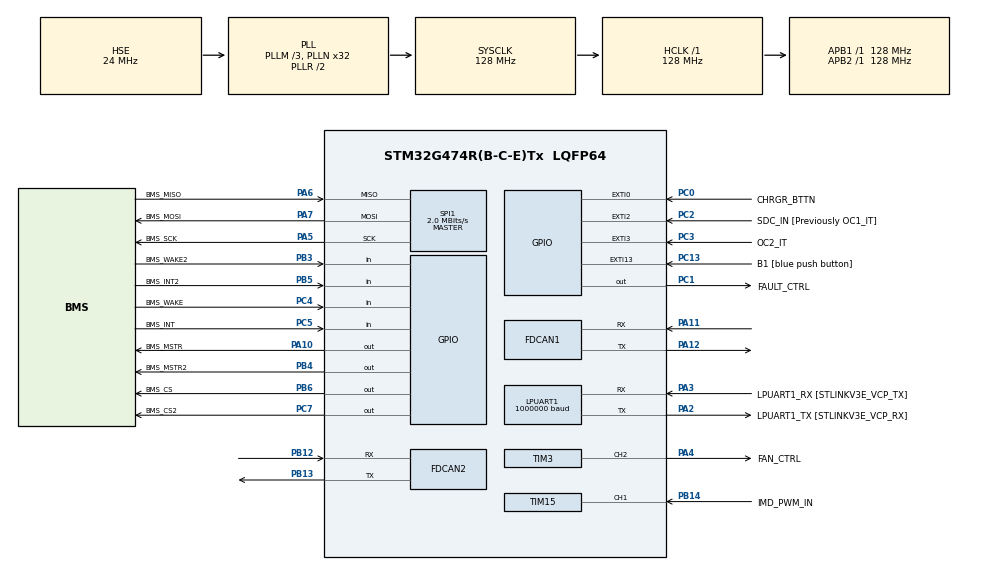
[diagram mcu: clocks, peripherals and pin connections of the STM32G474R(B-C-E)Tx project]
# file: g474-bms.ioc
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Dma.LPUART1_TX.0.Direction=DMA_MEMORY_TO_PERIPH
Dma.LPUART1_TX.0.EventEnable=DISABLE
Dma.LPUART1_TX.0.Instance=DMA1_Channel1
Dma.LPUART1_TX.0.MemDataAlignment=DMA_MDATAALIGN_BYTE
Dma.LPUART1_TX.0.MemInc=DMA_MINC_ENABLE
Dma.LPUART1_TX.0.Mode=DMA_NORMAL
Dma.LPUART1_TX.0.PeriphDataAlignment=DMA_PDATAALIGN_BYTE
Dma.LPUART1_TX.0.PeriphInc=DMA_PINC_DISABLE
Dma.LPUART1_TX.0.Polarity=HAL_DMAMUX_REQ_GEN_RISING
Dma.LPUART1_TX.0.Priority=DMA_PRIORITY_LOW
Dma.LPUART1_TX.0.RequestNumber=1
Dma.LPUART1_TX.0.SignalID=NONE
Dma.LPUART1_TX.0.SyncEnable=DISABLE
Dma.LPUART1_TX.0.SyncPolarity=HAL_DMAMUX_SYNC_NO_EVENT
Dma.LPUART1_TX.0.SyncRequestNumber=1
Dma.LPUART1_TX.0.SyncSignalID=NONE
Dma.Request0=LPUART1_TX
FDCAN1.AutoRetransmission=ENABLE
FDCAN1.CalculateBaudRateNominal=250000
FDCAN1.CalculateTimeBitNominal=4000
FDCAN1.CalculateTimeQuantumNominal=250.0
FDCAN1.ClockDivider=FDCAN_CLOCK_DIV2
FDCAN1.DataSyncJumpWidth=1
FDCAN1.NominalPrescaler=16
FDCAN1.NominalSyncJumpWidth=1
FDCAN1.NominalTimeSeg1=13
FDCAN1.NominalTimeSeg2=2
FDCAN2.CalculateBaudRateNominal=2666666
FDCAN2.CalculateTimeBitNominal=375
FDCAN2.CalculateTimeQuantumNominal=125.0
LPUART1.BaudRate=1000000
Mcu.Family=STM32G4
Mcu.Name=STM32G474R(B-C-E)Tx
Mcu.Package=LQFP64
NVIC.DMA1_Channel1_IRQn=true\:0\:0\:false\:false\:true\:false\:true\:true
NVIC.EXTI0_IRQn=true\:0\:0\:false\:false\:true\:true\:true\:true
NVIC.EXTI15_10_IRQn=true\:0\:0\:false\:false\:true\:true\:true\:true
NVIC.FDCAN1_IT0_IRQn=true\:0\:0\:false\:false\:true\:true\:true\:true
NVIC.LPUART1_IRQn=true\:0\:0\:false\:false\:true\:true\:true\:true
NVIC.PriorityGroup=NVIC_PRIORITYGROUP_4
NVIC.TIM1_UP_TIM16_IRQn=true\:0\:0\:false\:false\:true\:true\:true\:true
PA10.GPIO_Label=BMS_MSTR
PA10.Signal=GPIO_Output
PA11.Mode=FDCAN_Activate
PA11.Signal=FDCAN1_RX
PA12.Mode=FDCAN_Activate
PA12.Signal=FDCAN1_TX
PA13.GPIO_Label=T_SWDIO
PA13.Mode=Serial_Wire
PA13.Signal=SYS_JTMS-SWDIO
PA14.GPIO_Label=T_SWCLK
PA14.Mode=Serial_Wire
PA14.Signal=SYS_JTCK-SWCLK
PA2.GPIO_Label=LPUART1_TX [STLINKV3E_VCP_RX]
PA2.Mode=Asynchronous
PA2.Signal=LPUART1_TX
PA3.GPIO_Label=LPUART1_RX [STLINKV3E_VCP_TX]
PA3.Mode=Asynchronous
PA3.Signal=LPUART1_RX
PA4.GPIO_Label=FAN_CTRL
PA4.Signal=S_TIM3_CH2
PA5.GPIO_Label=BMS_SCK
PA5.Mode=Full_Duplex_Master
PA5.Signal=SPI1_SCK
PA6.GPIO_Label=BMS_MISO
PA6.Mode=Full_Duplex_Master
PA6.Signal=SPI1_MISO
PA7.GPIO_Label=BMS_MOSI
PA7.Mode=Full_Duplex_Master
PA7.Signal=SPI1_MOSI
PB12.Mode=FDCAN_Activate
PB12.Signal=FDCAN2_RX
PB13.Mode=FDCAN_Activate
PB13.Signal=FDCAN2_TX
PB14.GPIO_Label=IMD_PWM_IN
PB14.Signal=S_TIM15_CH1
PB3.GPIO_Label=BMS_WAKE2
PB3.Signal=GPIO_Input
PB4.GPIO_Label=BMS_MSTR2
PB4.Signal=GPIO_Output
PB5.GPIO_Label=BMS_INT2
PB5.Signal=GPIO_Input
PB6.GPIO_Label=BMS_CS
PB6.Signal=GPIO_Output
PC0.GPIO_Label=CHRGR_BTTN
PC0.GPIO_ModeDefaultEXTI=GPIO_MODE_IT_FALLING
PC0.GPIO_PuPd=GPIO_NOPULL
PC0.Signal=GPXTI0
PC1.GPIO_Label=FAULT_CTRL
PC1.GPIO_ModeDefaultOutputPP=GPIO_MODE_OUTPUT_OD
PC1.GPIO_PuPd=GPIO_NOPULL
PC1.PinState=GPIO_PIN_SET
PC1.Signal=GPIO_Output
PC13.GPIO_Label=B1 [blue push button]
PC13.Signal=GPXTI13
PC14-OSC32_IN.GPIO_Label=RCC_OSC32_IN
PC14-OSC32_IN.Mode=LSE-External-Oscillator
PC14-OSC32_IN.Signal=RCC_OSC32_IN
PC15-OSC32_OUT.GPIO_Label=RCC_OSC32_OUT
PC15-OSC32_OUT.Mode=LSE-External-Oscillator
PC15-OSC32_OUT.Signal=RCC_OSC32_OUT
PC2.GPIO_Label=SDC_IN [Previously OC1_IT]
PC2.Signal=GPXTI2
PC3.GPIO_Label=OC2_IT
PC3.Signal=GPXTI3
PC4.GPIO_Label=BMS_WAKE
PC4.Signal=GPIO_Input
PC5.GPIO_Label=BMS_INT
PC5.Signal=GPIO_Input
PC7.GPIO_Label=BMS_CS2
PC7.Signal=GPIO_Output
PF0-OSC_IN.GPIO_Label=RCC_OSC_IN
PF0-OSC_IN.Mode=HSE-External-Oscillator
PF0-OSC_IN.Signal=RCC_OSC_IN
PF1-OSC_OUT.GPIO_Label=RCC_OSC_OUT
PF1-OSC_OUT.Mode=HSE-External-Oscillator
PF1-OSC_OUT.Signal=RCC_OSC_OUT
ProjectManager.HeapSize=0x200
ProjectManager.StackSize=0x400
ProjectManager.TargetToolchain=STM32CubeIDE
RCC.ADC12Freq_Value=128000000
RCC.ADC345Freq_Value=128000000
RCC.AHBFreq_Value=128000000
RCC.APB1Freq_Value=128000000
RCC.APB1TimFreq_Value=128000000
RCC.APB2Freq_Value=128000000
RCC.APB2TimFreq_Value=128000000
RCC.CortexFreq_Value=128000000
RCC.EXTERNAL_CLOCK_VALUE=12288000
RCC.HCLKFreq_Value=128000000
RCC.HSE_VALUE=24000000
RCC.HSI48_VALUE=48000000
RCC.HSI_VALUE=16000000
RCC.PLLM=RCC_PLLM_DIV3
RCC.PLLN=32
RCC.PLLSourceVirtual=RCC_PLLSOURCE_HSE
RCC.RTCClockSelection=RCC_RTCCLKSOURCE_LSE
RCC.SYSCLKFreq_VALUE=128000000
RCC.SYSCLKSource=RCC_SYSCLKSOURCE_PLLCLK
RCC.USBFreq_Value=128000000
RCC.VCOOutputFreq_Value=256000000
SH.S_TIM15_CH1.0=TIM15_CH1,PWM_Input_1
SH.S_TIM3_CH2.0=TIM3_CH2,PWM Generation2 CH2
SPI1.BaudRatePrescaler=SPI_BAUDRATEPRESCALER_64
SPI1.CalculateBaudRate=2.0 MBits/s
SPI1.DataSize=SPI_DATASIZE_8BIT
SPI1.Direction=SPI_DIRECTION_2LINES
SPI1.Mode=SPI_MODE_MASTER
SPI1.VirtualType=VM_MASTER
TIM16.PeriodNoDither=10000 - 1
TIM16.Prescaler=12800 - 1
TIM2.PeriodNoDither=4294967295
TIM2.Prescaler=128-1
TIM3.Channel-PWM\ Generation2\ CH2=TIM_CHANNEL_2
VP_SYS_VS_DBSignals.Mode=DisableDeadBatterySignals
VP_TIM15_VS_ClockSourceINT.Mode=Internal
VP_TIM16_VS_ClockSourceINT.Mode=Enable_Timer
VP_TIM2_VS_ClockSourceINT.Mode=Internal
VP_TIM3_VS_ClockSourceINT.Mode=Internal
board=NUCLEO-G474RE

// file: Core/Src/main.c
/* USER CODE BEGIN Header */
/**
  ******************************************************************************
  * @file           : main.c
  * @brief          : Main program body
  ******************************************************************************
  * @attention
  *
  * Copyright (c) 2024 STMicroelectronics.
  * All rights reserved.
  *
  * This software is licensed under terms that can be found in the LICENSE file
  * in the root directory of this software component.
  * If no LICENSE file comes with this software, it is provided AS-IS.
  *
  ******************************************************************************
  */
/* USER CODE END Header */
#include "main.h"
#include "dma.h"
#include "fdcan.h"
#include "usart.h"
#include "spi.h"
#include "tim.h"
#include "gpio.h"

/* USER CODE BEGIN Includes */
#include "string.h"
#include "stdio.h"

#include "bms_cmdlist.h"
#include "bms_datatypes.h"
#include "bms_utility.h"
#include "bms_mcuWrapper.h"
#include "bms_libWrapper.h"

#include "uartDMA.h"
#include "bms_can.h"

/* USER CODE END Includes */

/* USER CODE BEGIN PTD */

const float deltaThreshold = 0.010; // In volts

/* USER CODE END PTD */

void SystemClock_Config(void);
/* USER CODE BEGIN PFP */

uint32_t getRuntimeMs(void);
uint32_t getRuntimeMsDiff(uint32_t startTime);

void BMS_WriteFaultSignal(bool state);
void BMS_FaultHandler(BMS_StatusTypeDef status);

/* USER CODE END PFP */

/* USER CODE BEGIN 0 */

typedef struct {
    volatile uint32_t runtime_sec;
    volatile uint32_t counter_commsError;
    volatile uint32_t counter_commsErrorCumulative;

    volatile uint32_t time_voltageFaultStart;
    volatile uint32_t time_tempFaultStart;
} ProgramStats;

ProgramStats programStats = {0};

volatile bool initRequired = true;

const uint32_t MAIN_LOOP_DELAY = 500;

static const bool DEBUG_SERIAL_LOOP_TIME = false;

/* USER CODE END 0 */

int main(void)
{

  /* MCU Configuration--------------------------------------------------------*/

  /* Reset of all peripherals, Initializes the Flash interface and the Systick. */
  HAL_Init();

  /* Configure the system clock */
  SystemClock_Config();

  /* Initialize all configured peripherals */
  MX_GPIO_Init();
  MX_DMA_Init();
  MX_LPUART1_UART_Init();
  MX_SPI1_Init();
  MX_TIM2_Init();
  MX_TIM16_Init();
  MX_FDCAN1_Init();
  MX_FDCAN2_Init();
  MX_TIM15_Init();
  MX_TIM3_Init();

  /* Infinite loop */
  /* USER CODE BEGIN WHILE */

    // Set CS2 Pin to HIGH to disable second SPI on 6822 + MSTR should be high by default
    HAL_GPIO_WritePin(BMS_CS2_GPIO_Port, BMS_CS2_Pin, GPIO_PIN_SET);
    HAL_GPIO_WritePin(BMS_MSTR_GPIO_Port, BMS_MSTR_Pin, GPIO_PIN_SET);
    HAL_GPIO_WritePin(BMS_MSTR2_GPIO_Port, BMS_MSTR2_Pin, GPIO_PIN_SET);

    // Fault By Default
    BMS_WriteFaultSignal(true);

    // Configure FDCAN
    BMS_CAN_Config();

    // Start Timer16
    HAL_TIM_Base_Start_IT(&htim16);

//    // Initialise BMS configs (No commands sent)
//    bms_init();

    uint32_t timeDiff = 0;
    uint32_t timeStart;

    printfDma("\n\n +++++             PROGRAM START             +++++ \n\n");
    bms_softReset();
    HAL_Delay(500);         // Initialisation delay

    bms_wakeupChain();
    bms_softReset();

    BMS_StatusTypeDef bmsStatus;

    BMS_EnableBalancing(false);
    BMS_EnableCharging(false);

    while (1)
    {
        timeStart = getRuntimeMs();

        // Init BMS
        if (initRequired == true)
        {
            bmsStatus = bms_init();
            if (bms_init() == BMS_OK)
            {
                initRequired = false;
            }
            else
            {
                BMS_FaultHandler(bmsStatus);
                continue;
            }
        }

        // BMS Program Loop
        bmsStatus = BMS_ProgramLoop();
        if (bmsStatus != BMS_OK)
        {
            BMS_FaultHandler(bmsStatus);
        }
        else
        {
            // Everything is OK, so disable the fault signal and enable balancing
            BMS_WriteFaultSignal(false);
            BMS_EnableBalancing(true);
        }

        // If charging and SDC is disconnected (LOW)
        if (BMS_IsCharging() && !HAL_GPIO_ReadPin(SDC_IN_GPIO_Port, SDC_IN_Pin))
        {
            printfDma("SDC Disconnected, Disabling Charging");
            BMS_EnableCharging(false);
        }

        timeDiff = getRuntimeMsDiff(timeStart);
        if (DEBUG_SERIAL_LOOP_TIME)
        {
            printfDma("\nRuntime: %ld ms, LoopTime: %ld ms \n\n", getRuntimeMs(), timeDiff);
        }

        HAL_Delay(MAIN_LOOP_DELAY);

    /* USER CODE END WHILE */

    }
}

void SystemClock_Config(void)
{
  RCC_OscInitTypeDef RCC_OscInitStruct = {0};
  RCC_ClkInitTypeDef RCC_ClkInitStruct = {0};

  /** Configure the main internal regulator output voltage
  */
  HAL_PWREx_ControlVoltageScaling(PWR_REGULATOR_VOLTAGE_SCALE1);

  /** Initializes the RCC Oscillators according to the specified parameters
  * in the RCC_OscInitTypeDef structure.
  */
  RCC_OscInitStruct.OscillatorType = RCC_OSCILLATORTYPE_HSE;
  RCC_OscInitStruct.HSEState = RCC_HSE_ON;
  RCC_OscInitStruct.PLL.PLLState = RCC_PLL_ON;
  RCC_OscInitStruct.PLL.PLLSource = RCC_PLLSOURCE_HSE;
  RCC_OscInitStruct.PLL.PLLM = RCC_PLLM_DIV3;
  RCC_OscInitStruct.PLL.PLLN = 32;
  RCC_OscInitStruct.PLL.PLLP = RCC_PLLP_DIV2;
  RCC_OscInitStruct.PLL.PLLQ = RCC_PLLQ_DIV2;
  RCC_OscInitStruct.PLL.PLLR = RCC_PLLR_DIV2;
  if (HAL_RCC_OscConfig(&RCC_OscInitStruct) != HAL_OK)
  {
    Error_Handler();
  }

  /** Initializes the CPU, AHB and APB buses clocks
  */
  RCC_ClkInitStruct.ClockType = RCC_CLOCKTYPE_HCLK|RCC_CLOCKTYPE_SYSCLK
                              |RCC_CLOCKTYPE_PCLK1|RCC_CLOCKTYPE_PCLK2;
  RCC_ClkInitStruct.SYSCLKSource = RCC_SYSCLKSOURCE_PLLCLK;
  RCC_ClkInitStruct.AHBCLKDivider = RCC_SYSCLK_DIV1;
  RCC_ClkInitStruct.APB1CLKDivider = RCC_HCLK_DIV1;
  RCC_ClkInitStruct.APB2CLKDivider = RCC_HCLK_DIV1;

  if (HAL_RCC_ClockConfig(&RCC_ClkInitStruct, FLASH_LATENCY_4) != HAL_OK)
  {
    Error_Handler();
  }
}

/* USER CODE BEGIN 4 */

/// Timer interrupt callback
// Callback: timer has rolled over
void HAL_TIM_PeriodElapsedCallback(TIM_HandleTypeDef *htim)
{
    // Check which version of the timer triggered this callback and toggle LED
    if (htim == &htim16) // This is triggered every second
    {
        programStats.runtime_sec += 1;
        // check CAN status
        // check for faults
        // check for bms status
        // if OK, get can data
        // send CAN messages

//        if (BMS_CheckNewDataReady())
        {
            CanTxMsg *msgArr = NULL;
            uint32_t len = 0;
            BMS_GetCanData(&msgArr, &len);
            BMS_CAN_SendBuffer(msgArr, len);
        }
    }
}

uint32_t getRuntimeMs(void)
{
    return HAL_GetTick();
}

uint32_t getRuntimeMsDiff(uint32_t startTime)
{
    return HAL_GetTick() - startTime; // Divide 10 to get 10ms
}

void HAL_GPIO_EXTI_Callback(uint16_t GPIO_Pin)
{
    uint32_t currentTime = HAL_GetTick();

    const uint32_t DEBOUNCE_DELAY = 500;
    static uint32_t lastDebounceTime_B1 = 0;
    static uint32_t lastDebounceTime_CHRGR_BTTN = 0;

    switch (GPIO_Pin)
    {
        case B1_Pin:                // Blue onboard button (for debugging mainly)
            // Debounce check
            if (currentTime - lastDebounceTime_B1 < DEBOUNCE_DELAY) break;
            lastDebounceTime_B1 = currentTime;
            printfDma("Blue Button pressed\n");
            break;

        case CHRGR_BTTN_Pin:        // Charger Button
            // Debounce check
            if (currentTime - lastDebounceTime_CHRGR_BTTN < DEBOUNCE_DELAY) break;
            lastDebounceTime_CHRGR_BTTN = currentTime;

            printfDma("Charger Button pressed\n");

            // Check for charger status and enables charging
            // or disables charger if charging is enabled
            BMS_ChargingButtonLogic();

            break;

        default:
            break;
    }
}

void BMS_WriteFaultSignal(bool state)
{
    HAL_GPIO_WritePin(FAULT_CTRL_GPIO_Port, FAULT_CTRL_Pin, state); // If mosfet is ON, Fault == TRUE
}

void BMS_FaultHandler(BMS_StatusTypeDef status)
{
    const uint32_t COMMS_RETRY_DELAY = 500;
    const uint32_t COMMS_RETRY_TIMES = 5;

    BMS_EnableBalancing(false);
    BMS_EnableCharging(false);

    switch (status)
    {
    case BMS_ERR_COMMS:
        programStats.counter_commsError = 0;
        do
        {
            programStats.counter_commsError++;
            programStats.counter_commsErrorCumulative++;
            if (programStats.counter_commsError > COMMS_RETRY_TIMES)
            {
                BMS_WriteFaultSignal(true);
            }
            bms_softReset();
            HAL_Delay(COMMS_RETRY_DELAY);
            bms_wakeupChain();
        }
        while (bms_readRegister(REG_SID) != BMS_OK);

        initRequired = true; // After comms is OK, redo init
        break;

    case BMS_ERR_FAULT:
        BMS_WriteFaultSignal(true);
        break;

    default:
        break;

    bms_stopDischarge();
    }
}

/* USER CODE END 4 */

void Error_Handler(void)
{
  __disable_irq();
  while (1)
  {
  }
}
